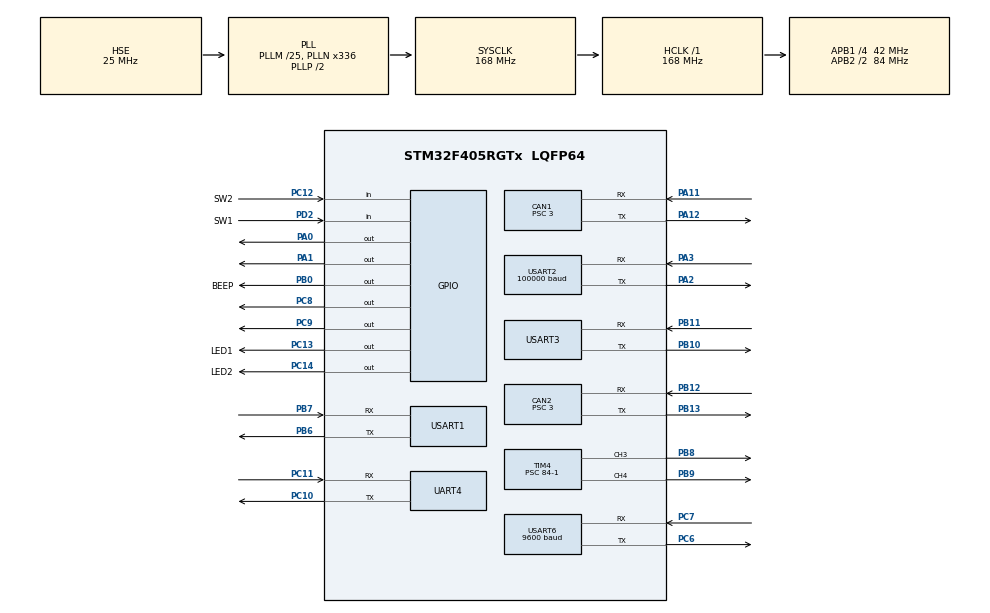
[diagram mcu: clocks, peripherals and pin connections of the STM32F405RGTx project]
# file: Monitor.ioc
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CAN1.BS1=CAN_BS1_9TQ
CAN1.BS2=CAN_BS2_4TQ
CAN1.CalculateTimeBit=1000
CAN1.CalculateTimeQuantum=71.42857142857143
CAN1.Prescaler=3
CAN2.BS1=CAN_BS1_9TQ
CAN2.BS2=CAN_BS2_4TQ
CAN2.CalculateTimeBit=1000
CAN2.CalculateTimeQuantum=71.42857142857143
CAN2.Prescaler=3
Dma.Request0=USART3_RX
Dma.Request1=USART3_TX
Dma.Request2=USART2_RX
Dma.Request3=USART2_TX
Dma.Request4=USART1_RX
Dma.Request5=USART1_TX
Dma.Request6=UART4_RX
Dma.Request7=UART4_TX
Dma.Request8=USART6_RX
Dma.Request9=USART6_TX
Dma.UART4_RX.6.Direction=DMA_PERIPH_TO_MEMORY
Dma.UART4_RX.6.FIFOMode=DMA_FIFOMODE_DISABLE
Dma.UART4_RX.6.Instance=DMA1_Stream2
Dma.UART4_RX.6.MemDataAlignment=DMA_MDATAALIGN_BYTE
Dma.UART4_RX.6.MemInc=DMA_MINC_ENABLE
Dma.UART4_RX.6.Mode=DMA_NORMAL
Dma.UART4_RX.6.PeriphDataAlignment=DMA_PDATAALIGN_BYTE
Dma.UART4_RX.6.PeriphInc=DMA_PINC_DISABLE
Dma.UART4_RX.6.Priority=DMA_PRIORITY_LOW
Dma.UART4_TX.7.Direction=DMA_MEMORY_TO_PERIPH
Dma.UART4_TX.7.FIFOMode=DMA_FIFOMODE_DISABLE
Dma.UART4_TX.7.Instance=DMA1_Stream4
Dma.UART4_TX.7.MemDataAlignment=DMA_MDATAALIGN_BYTE
Dma.UART4_TX.7.MemInc=DMA_MINC_ENABLE
Dma.UART4_TX.7.Mode=DMA_NORMAL
Dma.UART4_TX.7.PeriphDataAlignment=DMA_PDATAALIGN_BYTE
Dma.UART4_TX.7.PeriphInc=DMA_PINC_DISABLE
Dma.UART4_TX.7.Priority=DMA_PRIORITY_LOW
Dma.USART1_RX.4.Direction=DMA_PERIPH_TO_MEMORY
Dma.USART1_RX.4.FIFOMode=DMA_FIFOMODE_DISABLE
Dma.USART1_RX.4.Instance=DMA2_Stream2
Dma.USART1_RX.4.MemDataAlignment=DMA_MDATAALIGN_BYTE
Dma.USART1_RX.4.MemInc=DMA_MINC_ENABLE
Dma.USART1_RX.4.Mode=DMA_NORMAL
Dma.USART1_RX.4.PeriphDataAlignment=DMA_PDATAALIGN_BYTE
Dma.USART1_RX.4.PeriphInc=DMA_PINC_DISABLE
Dma.USART1_RX.4.Priority=DMA_PRIORITY_LOW
Dma.USART1_TX.5.Direction=DMA_MEMORY_TO_PERIPH
Dma.USART1_TX.5.FIFOMode=DMA_FIFOMODE_DISABLE
Dma.USART1_TX.5.Instance=DMA2_Stream7
Dma.USART1_TX.5.MemDataAlignment=DMA_MDATAALIGN_BYTE
Dma.USART1_TX.5.MemInc=DMA_MINC_ENABLE
Dma.USART1_TX.5.Mode=DMA_NORMAL
Dma.USART1_TX.5.PeriphDataAlignment=DMA_PDATAALIGN_BYTE
Dma.USART1_TX.5.PeriphInc=DMA_PINC_DISABLE
Dma.USART1_TX.5.Priority=DMA_PRIORITY_LOW
Dma.USART2_RX.2.Direction=DMA_PERIPH_TO_MEMORY
Dma.USART2_RX.2.FIFOMode=DMA_FIFOMODE_DISABLE
Dma.USART2_RX.2.Instance=DMA1_Stream5
Dma.USART2_RX.2.MemDataAlignment=DMA_MDATAALIGN_BYTE
Dma.USART2_RX.2.MemInc=DMA_MINC_ENABLE
Dma.USART2_RX.2.Mode=DMA_NORMAL
Dma.USART2_RX.2.PeriphDataAlignment=DMA_PDATAALIGN_BYTE
Dma.USART2_RX.2.PeriphInc=DMA_PINC_DISABLE
Dma.USART2_RX.2.Priority=DMA_PRIORITY_LOW
Dma.USART2_TX.3.Direction=DMA_MEMORY_TO_PERIPH
Dma.USART2_TX.3.FIFOMode=DMA_FIFOMODE_DISABLE
Dma.USART2_TX.3.Instance=DMA1_Stream6
Dma.USART2_TX.3.MemDataAlignment=DMA_MDATAALIGN_BYTE
Dma.USART2_TX.3.MemInc=DMA_MINC_ENABLE
Dma.USART2_TX.3.Mode=DMA_NORMAL
Dma.USART2_TX.3.PeriphDataAlignment=DMA_PDATAALIGN_BYTE
Dma.USART2_TX.3.PeriphInc=DMA_PINC_DISABLE
Dma.USART2_TX.3.Priority=DMA_PRIORITY_LOW
Dma.USART3_RX.0.Direction=DMA_PERIPH_TO_MEMORY
Dma.USART3_RX.0.FIFOMode=DMA_FIFOMODE_DISABLE
Dma.USART3_RX.0.Instance=DMA1_Stream1
Dma.USART3_RX.0.MemDataAlignment=DMA_MDATAALIGN_BYTE
Dma.USART3_RX.0.MemInc=DMA_MINC_ENABLE
Dma.USART3_RX.0.Mode=DMA_NORMAL
Dma.USART3_RX.0.PeriphDataAlignment=DMA_PDATAALIGN_BYTE
Dma.USART3_RX.0.PeriphInc=DMA_PINC_DISABLE
Dma.USART3_RX.0.Priority=DMA_PRIORITY_LOW
Dma.USART3_TX.1.Direction=DMA_MEMORY_TO_PERIPH
Dma.USART3_TX.1.FIFOMode=DMA_FIFOMODE_DISABLE
Dma.USART3_TX.1.Instance=DMA1_Stream3
Dma.USART3_TX.1.MemDataAlignment=DMA_MDATAALIGN_BYTE
Dma.USART3_TX.1.MemInc=DMA_MINC_ENABLE
Dma.USART3_TX.1.Mode=DMA_NORMAL
Dma.USART3_TX.1.PeriphDataAlignment=DMA_PDATAALIGN_BYTE
Dma.USART3_TX.1.PeriphInc=DMA_PINC_DISABLE
Dma.USART3_TX.1.Priority=DMA_PRIORITY_LOW
Dma.USART6_RX.8.Direction=DMA_PERIPH_TO_MEMORY
Dma.USART6_RX.8.FIFOMode=DMA_FIFOMODE_DISABLE
Dma.USART6_RX.8.Instance=DMA2_Stream1
Dma.USART6_RX.8.MemDataAlignment=DMA_MDATAALIGN_BYTE
Dma.USART6_RX.8.MemInc=DMA_MINC_ENABLE
Dma.USART6_RX.8.Mode=DMA_NORMAL
Dma.USART6_RX.8.PeriphDataAlignment=DMA_PDATAALIGN_BYTE
Dma.USART6_RX.8.PeriphInc=DMA_PINC_DISABLE
Dma.USART6_RX.8.Priority=DMA_PRIORITY_LOW
Dma.USART6_TX.9.Direction=DMA_MEMORY_TO_PERIPH
Dma.USART6_TX.9.FIFOMode=DMA_FIFOMODE_DISABLE
Dma.USART6_TX.9.Instance=DMA2_Stream6
Dma.USART6_TX.9.MemDataAlignment=DMA_MDATAALIGN_BYTE
Dma.USART6_TX.9.MemInc=DMA_MINC_ENABLE
Dma.USART6_TX.9.Mode=DMA_NORMAL
Dma.USART6_TX.9.PeriphDataAlignment=DMA_PDATAALIGN_BYTE
Dma.USART6_TX.9.PeriphInc=DMA_PINC_DISABLE
Dma.USART6_TX.9.Priority=DMA_PRIORITY_LOW
FREERTOS.INCLUDE_eTaskGetState=1
FREERTOS.INCLUDE_uxTaskGetStackHighWaterMark=1
FREERTOS.INCLUDE_vTaskDelayUntil=1
FREERTOS.INCLUDE_xTaskGetCurrentTaskHandle=1
FREERTOS.Tasks01=defaultTask,0,128,StartDefaultTask,Default
FREERTOS.configGENERATE_RUN_TIME_STATS=1
FREERTOS.configTOTAL_HEAP_SIZE=30360
IWDG.Prescaler=IWDG_PRESCALER_32
IWDG.Reload=1000
Mcu.Family=STM32F4
Mcu.Name=STM32F405RGTx
Mcu.Package=LQFP64
NVIC.CAN1_RX0_IRQn=true\:5\:0\:false\:false\:true\:true
NVIC.CAN2_RX0_IRQn=true\:5\:0\:false\:false\:true\:true
NVIC.DMA1_Stream1_IRQn=true\:5\:0\:false\:false\:true\:true
NVIC.DMA1_Stream2_IRQn=true\:5\:0\:false\:false\:true\:true
NVIC.DMA1_Stream3_IRQn=true\:5\:0\:false\:false\:true\:true
NVIC.DMA1_Stream4_IRQn=true\:5\:0\:false\:false\:true\:true
NVIC.DMA1_Stream5_IRQn=true\:5\:0\:false\:false\:true\:true
NVIC.DMA1_Stream6_IRQn=true\:5\:0\:false\:false\:true\:true
NVIC.DMA2_Stream1_IRQn=true\:5\:0\:false\:false\:true\:true
NVIC.DMA2_Stream2_IRQn=true\:5\:0\:false\:false\:true\:true
NVIC.DMA2_Stream6_IRQn=true\:5\:0\:false\:false\:true\:true
NVIC.DMA2_Stream7_IRQn=true\:5\:0\:false\:false\:true\:true
NVIC.PriorityGroup=NVIC_PRIORITYGROUP_4
NVIC.TIM6_DAC_IRQn=true\:5\:0\:false\:false\:true\:true
NVIC.UART4_IRQn=true\:5\:0\:false\:false\:true\:true
NVIC.USART1_IRQn=true\:5\:0\:false\:false\:true\:true
NVIC.USART2_IRQn=true\:5\:0\:false\:false\:true\:true
NVIC.USART3_IRQn=true\:5\:0\:false\:false\:true\:true
NVIC.USART6_IRQn=true\:5\:0\:false\:false\:true\:true
PA0-WKUP.Signal=GPIO_Output
PA1.Signal=GPIO_Output
PA11.Mode=Master
PA11.Signal=CAN1_RX
PA12.Mode=Master
PA12.Signal=CAN1_TX
PA2.Mode=Asynchronous
PA2.Signal=USART2_TX
PA3.Mode=Asynchronous
PA3.Signal=USART2_RX
PB0.GPIO_Label=BEEP
PB0.Signal=GPIO_Output
PB10.Mode=Asynchronous
PB10.Signal=USART3_TX
PB11.Mode=Asynchronous
PB11.Signal=USART3_RX
PB12.Mode=Slave
PB12.Signal=CAN2_RX
PB13.Mode=Slave
PB13.Signal=CAN2_TX
PB6.Mode=Asynchronous
PB6.Signal=USART1_TX
PB7.Mode=Asynchronous
PB7.Signal=USART1_RX
PB8.Signal=S_TIM4_CH3
PB9.Signal=S_TIM4_CH4
PC10.Mode=Asynchronous
PC10.Signal=UART4_TX
PC11.Mode=Asynchronous
PC11.Signal=UART4_RX
PC12.GPIO_Label=SW2
PC12.Signal=GPIO_Input
PC13-ANTI_TAMP.GPIO_Label=LED1
PC13-ANTI_TAMP.Signal=GPIO_Output
PC14-OSC32_IN.GPIO_Label=LED2
PC14-OSC32_IN.Signal=GPIO_Output
PC6.Mode=Asynchronous
PC6.Signal=USART6_TX
PC7.Mode=Asynchronous
PC7.Signal=USART6_RX
PC8.Signal=GPIO_Output
PC9.Signal=GPIO_Output
PD2.GPIO_Label=SW1
PD2.Signal=GPIO_Input
PH0-OSC_IN.Mode=HSE-External-Oscillator
PH0-OSC_IN.Signal=RCC_OSC_IN
PH1-OSC_OUT.Mode=HSE-External-Oscillator
PH1-OSC_OUT.Signal=RCC_OSC_OUT
ProjectManager.HeapSize=0x200
ProjectManager.StackSize=0x400
ProjectManager.TargetToolchain=MDK-ARM V5
RCC.48MHZClocksFreq_Value=84000000
RCC.AHBFreq_Value=168000000
RCC.APB1CLKDivider=RCC_HCLK_DIV4
RCC.APB1Freq_Value=42000000
RCC.APB1TimFreq_Value=84000000
RCC.APB2CLKDivider=RCC_HCLK_DIV2
RCC.APB2Freq_Value=84000000
RCC.APB2TimFreq_Value=168000000
RCC.CortexFreq_Value=168000000
RCC.HCLKFreq_Value=168000000
RCC.HSE_VALUE=25000000
RCC.HSI_VALUE=16000000
RCC.LSE_VALUE=32768
RCC.PLLM=25
RCC.PLLN=336
RCC.PLLSourceVirtual=RCC_PLLSOURCE_HSE
RCC.SYSCLKFreq_VALUE=168000000
RCC.SYSCLKSource=RCC_SYSCLKSOURCE_PLLCLK
RCC.VCOOutputFreq_Value=336000000
SH.S_TIM4_CH3.0=TIM4_CH3,PWM Generation3 CH3
SH.S_TIM4_CH4.0=TIM4_CH4,PWM Generation4 CH4
TIM4.Channel-PWM\ Generation3\ CH3=TIM_CHANNEL_3
TIM4.Channel-PWM\ Generation4\ CH4=TIM_CHANNEL_4
TIM4.Period=3333-1
TIM4.Prescaler=84-1
TIM4.Pulse-PWM\ Generation3\ CH3=3332/2
TIM4.Pulse-PWM\ Generation4\ CH4=3332/2
TIM6.Period=100-1
TIM6.Prescaler=840-1
UART4.VirtualMode=Asynchronous
USART1.VirtualMode=VM_ASYNC
USART2.BaudRate=100000
USART2.VirtualMode=VM_ASYNC
USART3.VirtualMode=VM_ASYNC
USART6.BaudRate=9600
USART6.VirtualMode=VM_ASYNC
VP_FREERTOS_VS_ENABLE.Mode=Enabled
VP_IWDG_VS_IWDG.Mode=IWDG_Activate
VP_TIM6_VS_ClockSourceINT.Mode=Enable_Timer
board=Monitor

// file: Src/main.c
/**
  ******************************************************************************
  * File Name          : main.c
  * Description        : Main program body
  ******************************************************************************
  *
  * Copyright (c) 2018 STMicroelectronics International N.V.
  * All rights reserved.
  *
  * Redistribution and use in source and binary forms, with or without
  * modification, are permitted, provided that the following conditions are met:
  *
  * 1. Redistribution of source code must retain the above copyright notice,
  *    this list of conditions and the following disclaimer.
  * 2. Redistributions in binary form must reproduce the above copyright notice,
  *    this list of conditions and the following disclaimer in the documentation
  *    and/or other materials provided with the distribution.
  * 3. Neither the name of STMicroelectronics nor the names of other
  *    contributors to this software may be used to endorse or promote products
  *    derived from this software without specific written permission.
  * 4. This software, including modifications and/or derivative works of this
  *    software, must execute solely and exclusively on microcontroller or
  *    microprocessor devices manufactured by or for STMicroelectronics.
  * 5. Redistribution and use of this software other than as permitted under
  *    this license is void and will automatically terminate your rights under
  *    this license.
  *
  * THIS SOFTWARE IS PROVIDED BY STMICROELECTRONICS AND CONTRIBUTORS "AS IS"
  * AND ANY EXPRESS, IMPLIED OR STATUTORY WARRANTIES, INCLUDING, BUT NOT
  * LIMITED TO, THE IMPLIED WARRANTIES OF MERCHANTABILITY, FITNESS FOR A
  * PARTICULAR PURPOSE AND NON-INFRINGEMENT OF THIRD PARTY INTELLECTUAL PROPERTY
  * RIGHTS ARE DISCLAIMED TO THE FULLEST EXTENT PERMITTED BY LAW. IN NO EVENT
  * SHALL STMICROELECTRONICS OR CONTRIBUTORS BE LIABLE FOR ANY DIRECT, INDIRECT,
  * INCIDENTAL, SPECIAL, EXEMPLARY, OR CONSEQUENTIAL DAMAGES (INCLUDING, BUT NOT
  * LIMITED TO, PROCUREMENT OF SUBSTITUTE GOODS OR SERVICES; LOSS OF USE, DATA,
  * OR PROFITS; OR BUSINESS INTERRUPTION) HOWEVER CAUSED AND ON ANY THEORY OF
  * LIABILITY, WHETHER IN CONTRACT, STRICT LIABILITY, OR TORT (INCLUDING
  * NEGLIGENCE OR OTHERWISE) ARISING IN ANY WAY OUT OF THE USE OF THIS SOFTWARE,
  * EVEN IF ADVISED OF THE POSSIBILITY OF SUCH DAMAGE.
  *
  ******************************************************************************
  */
#include "main.h"
#include "stm32f4xx_hal.h"
#include "cmsis_os.h"
#include "can.h"
#include "dma.h"
#include "iwdg.h"
#include "tim.h"
#include "usart.h"
#include "gpio.h"

/* USER CODE BEGIN Includes */
#include "bsp_can.h"
#include "bsp_Uart.h"
#include "SystemState.h"
#include "Monitor.h"
/* USER CODE END Includes */

/* USER CODE BEGIN PV */
/* Private variables ---------------------------------------------------------*/

/* USER CODE END PV */

void SystemClock_Config(void);
void Error_Handler(void);
void MX_FREERTOS_Init(void);

/* USER CODE BEGIN PFP */
/* Private function prototypes -----------------------------------------------*/
void vLED_Task(void *pvParameters);//LED显示函数
void vLED2_Task(void *pvParameters);//LED显示函数
void vBEEP_Task(void *pvParameters);//蜂鸣器函数
void vTest_Task(void *pvParameters);//测试函数
/* USER CODE END PFP */

int main(void)
{

  /* MCU Configuration----------------------------------------------------------*/

  /* Reset of all peripherals, Initializes the Flash interface and the Systick. */
  HAL_Init();

  /* Configure the system clock */
  SystemClock_Config();

  /* Initialize all configured peripherals */
  MX_GPIO_Init();
  MX_DMA_Init();
  MX_CAN1_Init();
  MX_CAN2_Init();
  MX_TIM4_Init();
  MX_TIM6_Init();
  MX_UART4_Init();
  MX_USART1_UART_Init();
  MX_USART2_UART_Init();
  MX_USART3_UART_Init();
  MX_USART6_UART_Init();
  //MX_IWDG_Init();

  /* USER CODE BEGIN 2 */
	if(!Can_Inite())while(1);						//CAN发送 接收服务
	if(!UART_Inite())while(1);					//串口服务
	if(!SystemState_Inite())while(1);		//系统状态服务
	Monitor_Inite();

	xTaskCreate( vBEEP_Task, "BEEP_Task", 200, NULL, 1, NULL );//BEEP提示服务

	if(!xTaskCreate( vLED_Task, "LED_Task", 200, NULL, 1, NULL ))while(1);//LED提示服务
	if(!xTaskCreate( vLED2_Task, "LED2_Task", 200, NULL, 1, NULL ))while(1);//CAN LED提示服务

	xTaskCreate( vTest_Task, "Test_Task", 200, NULL, 1, NULL );

	printf("System Inite OK.....\r\n\r\n");
  /* USER CODE END 2 */

  /* Call init function for freertos objects (in freertos.c) */
  MX_FREERTOS_Init();

  /* Start scheduler */
  osKernelStart();

  /* We should never get here as control is now taken by the scheduler */

  /* Infinite loop */
  while (1)
  {

  }

}

/** System Clock Configuration
*/
void SystemClock_Config(void)
{

  RCC_OscInitTypeDef RCC_OscInitStruct;
  RCC_ClkInitTypeDef RCC_ClkInitStruct;

    /**Configure the main internal regulator output voltage
    */
  __HAL_RCC_PWR_CLK_ENABLE();

  __HAL_PWR_VOLTAGESCALING_CONFIG(PWR_REGULATOR_VOLTAGE_SCALE1);

    /**Initializes the CPU, AHB and APB busses clocks
    */
  RCC_OscInitStruct.OscillatorType = RCC_OSCILLATORTYPE_LSI|RCC_OSCILLATORTYPE_HSE;
  RCC_OscInitStruct.HSEState = RCC_HSE_ON;
  RCC_OscInitStruct.LSIState = RCC_LSI_ON;
  RCC_OscInitStruct.PLL.PLLState = RCC_PLL_ON;
  RCC_OscInitStruct.PLL.PLLSource = RCC_PLLSOURCE_HSE;
  RCC_OscInitStruct.PLL.PLLM = 25;
  RCC_OscInitStruct.PLL.PLLN = 336;
  RCC_OscInitStruct.PLL.PLLP = RCC_PLLP_DIV2;
  RCC_OscInitStruct.PLL.PLLQ = 4;
  if (HAL_RCC_OscConfig(&RCC_OscInitStruct) != HAL_OK)
  {
    Error_Handler();
  }

    /**Initializes the CPU, AHB and APB busses clocks
    */
  RCC_ClkInitStruct.ClockType = RCC_CLOCKTYPE_HCLK|RCC_CLOCKTYPE_SYSCLK
                              |RCC_CLOCKTYPE_PCLK1|RCC_CLOCKTYPE_PCLK2;
  RCC_ClkInitStruct.SYSCLKSource = RCC_SYSCLKSOURCE_PLLCLK;
  RCC_ClkInitStruct.AHBCLKDivider = RCC_SYSCLK_DIV1;
  RCC_ClkInitStruct.APB1CLKDivider = RCC_HCLK_DIV4;
  RCC_ClkInitStruct.APB2CLKDivider = RCC_HCLK_DIV2;

  if (HAL_RCC_ClockConfig(&RCC_ClkInitStruct, FLASH_LATENCY_5) != HAL_OK)
  {
    Error_Handler();
  }

    /**Configure the Systick interrupt time
    */
  HAL_SYSTICK_Config(HAL_RCC_GetHCLKFreq()/1000);

    /**Configure the Systick
    */
  HAL_SYSTICK_CLKSourceConfig(SYSTICK_CLKSOURCE_HCLK);

  /* SysTick_IRQn interrupt configuration */
  HAL_NVIC_SetPriority(SysTick_IRQn, 15, 0);
}

void Error_Handler(void)
{
  while(1)
  {
  }
}

/************************ (C) COPYRIGHT STMicroelectronics *****END OF FILE****/
